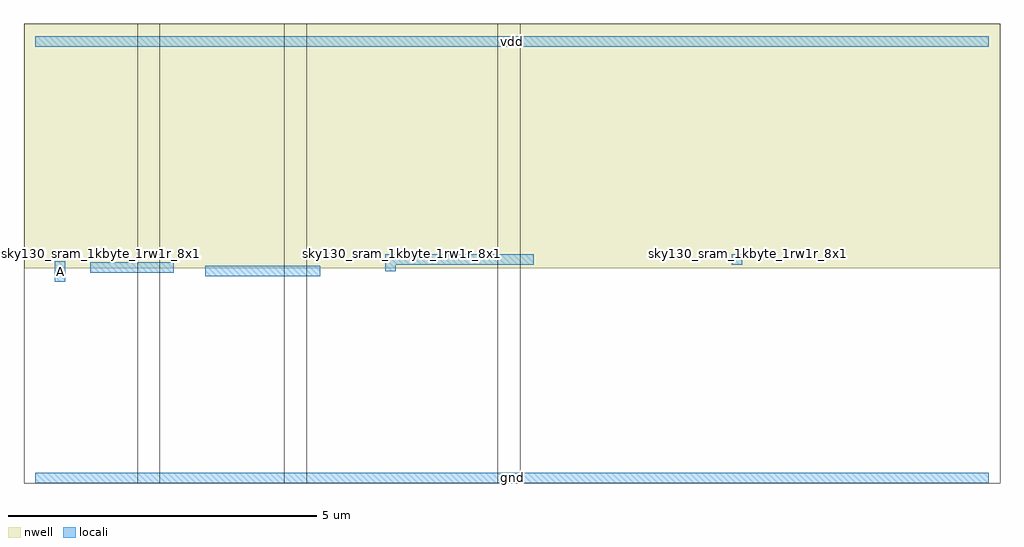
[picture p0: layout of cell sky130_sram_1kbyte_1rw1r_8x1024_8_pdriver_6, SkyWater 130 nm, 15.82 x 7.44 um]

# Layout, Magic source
magic
tech sky130A
magscale 1 2
<< nwell >>
rect -36 679 3128 1471
<< locali >>
rect 0 1397 3092 1431
rect 64 636 98 702
rect 179 664 449 698
rect 1135 690 1617 724
rect 2259 690 2293 724
rect 551 653 925 687
rect 1135 670 1169 690
rect 0 -17 3092 17
use sky130_sram_1kbyte_1rw1r_8x1024_8_pinv_17  sky130_sram_1kbyte_1rw1r_8x1024_8_pinv_17_0
transform 1 0 1536 0 1 0
box -36 -17 1592 1471
use sky130_sram_1kbyte_1rw1r_8x1024_8_pinv_16  sky130_sram_1kbyte_1rw1r_8x1024_8_pinv_16_0
transform 1 0 844 0 1 0
box -36 -17 728 1471
use sky130_sram_1kbyte_1rw1r_8x1024_8_pinv_10  sky130_sram_1kbyte_1rw1r_8x1024_8_pinv_10_0
transform 1 0 368 0 1 0
box -36 -17 512 1471
use sky130_sram_1kbyte_1rw1r_8x1024_8_pinv_0  sky130_sram_1kbyte_1rw1r_8x1024_8_pinv_0_0
transform 1 0 0 0 1 0
box -36 -17 404 1471
<< labels >>
rlabel locali s 2276 707 2276 707 4 Z
port 1 nsew
rlabel locali s 81 669 81 669 4 A
port 2 nsew
rlabel locali s 1546 0 1546 0 4 gnd
port 3 nsew
rlabel locali s 1546 1414 1546 1414 4 vdd
port 4 nsew
<< properties >>
string FIXED_BBOX 0 0 3092 1414
string GDS_FILE $PDKPATH/libs.ref/sky130_sram_macros/gds/sky130_sram_1kbyte_1rw1r_8x1024_8.gds
string GDS_END 6044184
string GDS_START 6042562
<< end >>
